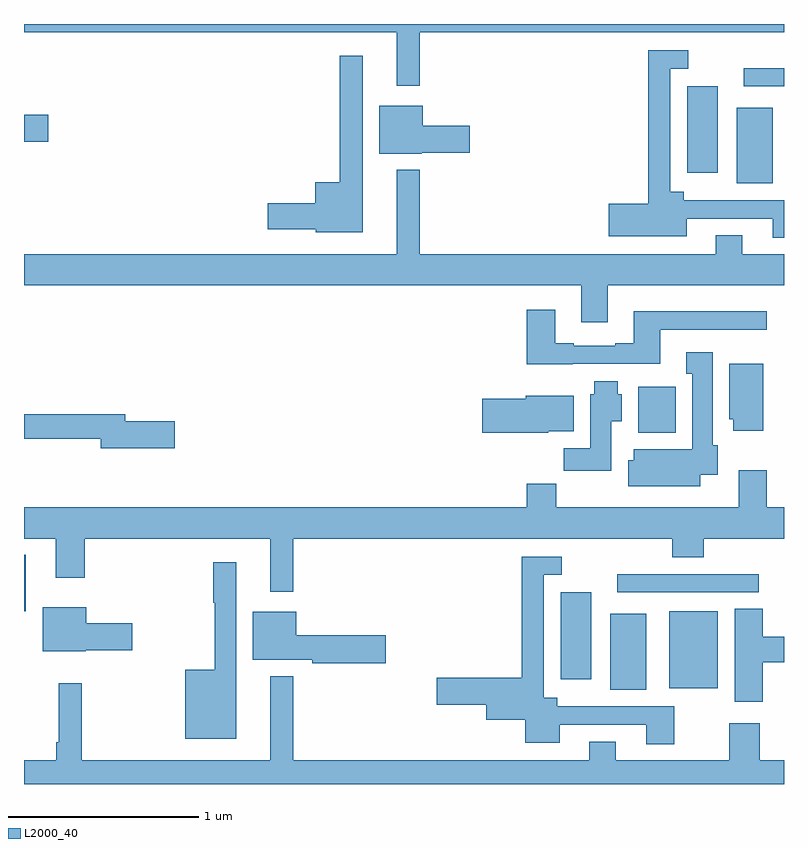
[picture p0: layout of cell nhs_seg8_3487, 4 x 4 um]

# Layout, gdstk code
import gdstk
lib = gdstk.Library(unit=1e-6, precision=1e-09)
def R(c, l, rs):  # rectangles x0, y0, x1, y1
    for r in rs: c.add(gdstk.rectangle(r[:2], r[2:], *l))
def P(c, l, *ps):  # polygons
    for p in ps: c.add(gdstk.Polygon(p, *l))
L2000_40 = (2000, 40)

nhs_seg8_3487 = lib.new_cell('nhs_seg8_3487')
R(nhs_seg8_3487, L2000_40, [(330.086,1090.397,330.274,1090.795), (330.395,1090.403,330.652,1090.81), (329.825,1090.452,329.986,1090.909), (327,1090.809,327.01,1091.107), (330.123,1090.908,330.868,1091.004), (330.233,1091.75,330.43,1091.992), (330.752,1093.061,330.94,1093.459), (330.491,1093.116,330.652,1093.573), (327,1093.28,327.127,1093.422), (330.789,1093.572,331,1093.668)])
P(nhs_seg8_3487, L2000_40, [(329.083,1093.856),(331,1093.856),(331,1093.9),(327,1093.9),(327,1093.856),(328.961,1093.856),(328.961,1093.575),(329.083,1093.575)],
  [(331,1092.972),(330.472,1092.972),(330.472,1093.018),(330.402,1093.018),(330.402,1093.665),(330.496,1093.665),(330.496,1093.761),(330.286,1093.761),(330.286,1092.953),(330.078,1092.953),(330.078,1092.782),(330.487,1092.782),(330.487,1092.876),(330.941,1092.876),(330.941,1092.774),(331,1092.774)],
  [(328.783,1093.732),(328.662,1093.732),(328.662,1093.066),(328.532,1093.066),(328.532,1092.956),(328.284,1092.956),(328.284,1092.821),(328.536,1092.821),(328.536,1092.803),(328.783,1092.803)],
  [(329.094,1093.223),(329.347,1093.223),(329.347,1093.365),(329.098,1093.365),(329.098,1093.471),(328.871,1093.471),(328.871,1093.217),(329.094,1093.217)],
  [(330.073,1092.524),(331,1092.524),(331,1092.688),(330.781,1092.688),(330.781,1092.787),(330.641,1092.787),(330.641,1092.688),(329.083,1092.688),(329.083,1093.132),(328.961,1093.132),(328.961,1092.688),(327,1092.688),(327,1092.524),(329.933,1092.524),(329.933,1092.33),(330.073,1092.33)],
  [(329.889,1092.111),(330.349,1092.111),(330.349,1092.291),(330.91,1092.291),(330.91,1092.388),(330.209,1092.388),(330.209,1092.22),(330.113,1092.22),(330.113,1092.207),(329.893,1092.207),(329.893,1092.22),(329.797,1092.22),(329.797,1092.397),(329.645,1092.397),(329.645,1092.11),(329.889,1092.11)],
  [(330.559,1091.528),(330.652,1091.528),(330.652,1091.682),(330.625,1091.682),(330.625,1092.172),(330.485,1092.172),(330.485,1092.059),(330.518,1092.059),(330.518,1091.662),(330.209,1091.662),(330.209,1091.603),(330.179,1091.603),(330.179,1091.468),(330.559,1091.468)],
  [(330.892,1092.112),(330.713,1092.112),(330.713,1091.82),(330.734,1091.82),(330.734,1091.76),(330.892,1091.76)],
  [(330.091,1091.809),(330.145,1091.809),(330.145,1091.952),(330.124,1091.952),(330.124,1092.019),(330.002,1092.019),(330.002,1091.952),(329.981,1091.952),(329.981,1091.668),(329.842,1091.668),(329.842,1091.55),(330.091,1091.55)],
  [(329.76,1091.756),(329.893,1091.756),(329.893,1091.944),(329.642,1091.944),(329.642,1091.927),(329.412,1091.927),(329.412,1091.75),(329.76,1091.75)],
  [(327.793,1091.81),(327.532,1091.81),(327.532,1091.846),(327,1091.846),(327,1091.718),(327.404,1091.718),(327.404,1091.668),(327.793,1091.668)],
  [(328.417,1091.192),(330.413,1091.192),(330.413,1091.093),(330.578,1091.093),(330.578,1091.192),(331,1091.192),(331,1091.356),(330.909,1091.356),(330.909,1091.551),(330.761,1091.551),(330.761,1091.356),(329.801,1091.356),(329.801,1091.48),(329.645,1091.48),(329.645,1091.356),(327,1091.356),(327,1091.192),(327.167,1091.192),(327.167,1090.986),(327.32,1090.986),(327.32,1091.192),(328.295,1091.192),(328.295,1090.911),(328.417,1090.911)],
  [(330.423,1090.308),(329.806,1090.308),(329.806,1090.354),(329.736,1090.354),(329.736,1091.001),(329.83,1091.001),(329.83,1091.097),(329.62,1091.097),(329.62,1090.46),(329.172,1090.46),(329.172,1090.318),(329.432,1090.318),(329.432,1090.238),(329.639,1090.238),(329.639,1090.118),(329.821,1090.118),(329.821,1090.212),(330.275,1090.212),(330.275,1090.11),(330.423,1090.11)],
  [(328.117,1091.068),(327.996,1091.068),(327.996,1090.855),(328.003,1090.855),(328.003,1090.501),(327.848,1090.501),(327.848,1090.139),(328.117,1090.139)],
  [(327.324,1090.604),(327.571,1090.604),(327.571,1090.746),(327.328,1090.746),(327.328,1090.831),(327.098,1090.831),(327.098,1090.598),(327.324,1090.598)],
  [(330.887,1090.54),(331,1090.54),(331,1090.676),(330.887,1090.676),(330.887,1090.823),(330.74,1090.823),(330.74,1090.332),(330.887,1090.332)],
  [(328.903,1090.682),(328.432,1090.682),(328.432,1090.807),(328.205,1090.807),(328.205,1090.553),(328.518,1090.553),(328.518,1090.535),(328.903,1090.535)],
  [(331,1090.024),(330.872,1090.024),(330.872,1090.219),(330.712,1090.219),(330.712,1090.024),(330.115,1090.024),(330.115,1090.123),(329.975,1090.123),(329.975,1090.024),(328.417,1090.024),(328.417,1090.468),(328.295,1090.468),(328.295,1090.024),(327.305,1090.024),(327.305,1090.429),(327.184,1090.429),(327.184,1090.12),(327.169,1090.12),(327.169,1090.024),(327,1090.024),(327,1089.9),(331,1089.9)])

lib.write_gds('nhs_seg8_3487.gds')
